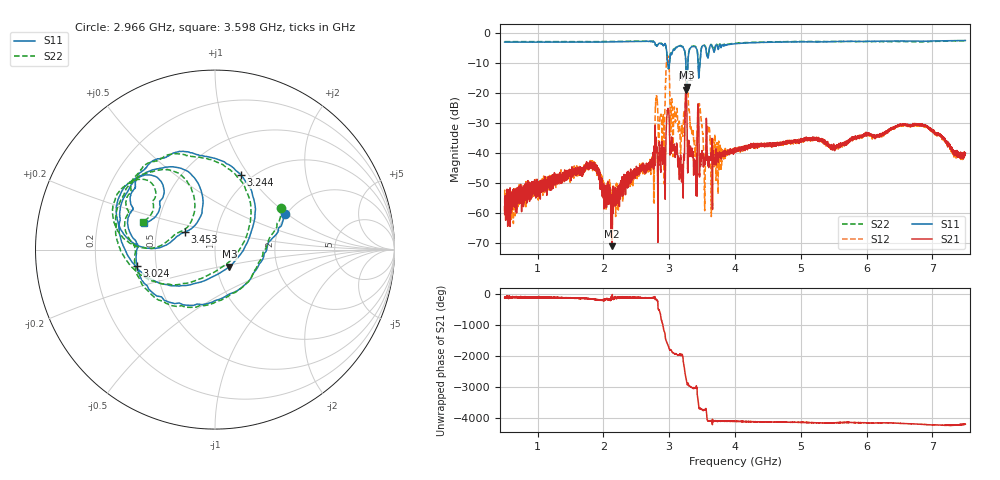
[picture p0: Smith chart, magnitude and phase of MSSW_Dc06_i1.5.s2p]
!Keysight Technologies,M9374A,MY55442783,A.12.55.05
!Date: Thursday, May 20, 2021 12:57:34
!Correction: S11(Full 2 Port(1,2))
!S21(Full 2 Port(1,2))
!S12(Full 2 Port(1,2))
!S22(Full 2 Port(1,2))
!S2P File: Measurements: S11, S21, S12, S22:
# Hz S  RI  R 50
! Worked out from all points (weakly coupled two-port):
!   7001 points, 500 MHz to 7.5 GHz, reference 50 ohm
!   highest |S21| = -18.93 dB at 3.255 GHz (marker M1); lowest = -70.9 dB at 2.128 GHz (marker M2)
!   lowest |S11| = -18.1 dB at 3.268 GHz (marker M3), VSWR 1.28, Z = 57.6 - j11.1 ohm
!   |S11| at or under -10 dB: 2.976 GHz to 3.005 GHz (29.39 MHz wide, 0.983 % of centre); 3.253 GHz to 3.284 GHz (30.6 MHz wide, 0.936 % of centre); 3.439 GHz to 3.468 GHz (29.08 MHz wide, 0.842 % of centre)
!   |S22| runs from -19.8 to -2.7 dB; largest |S21 - S12| = 0.36
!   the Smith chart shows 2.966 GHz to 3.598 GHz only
!   S11 on the Smith chart (normalised r, x): 2.966 GHz: 1.96, +0.96; 3.024 GHz: 0.39, -0.09; 3.244 GHz: 0.89, +0.92; 3.453 GHz: 0.70, +0.14; 3.598 GHz: 0.42, +0.15
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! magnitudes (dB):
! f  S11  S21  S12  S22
! 500 MHz  -3.2  -58.0  -59.4  -3.0
! 1.667 GHz  -3.2  -46.6  -46.1  -3.0
! 1.869 GHz  -3.2  -43.7  -44.6  -3.0
! 2.128 GHz  -3.1  -70.9  -55.7  -3.0
! 2.745 GHz  -3.1  -43.8  -41.3  -3.1
! 2.834 GHz  -3.9  -43.9  -33.7  -3.8
! 2.907 GHz  -4.2  -41.7  -28.1  -4.2
! 2.966 GHz  -7.2  -27.6  -8.8  -7.2
! 3.024 GHz  -7.0  -40.1  -32.9  -6.8
! 3.182 GHz  -4.5  -45.1  -33.8  -4.4
! 3.244 GHz  -7.1  -23.6  -25.7  -7.1
! 3.255 GHz  -10.9  -18.9  -17.7  -10.8
! 3.268 GHz  -18.1  -25.3  -14.5  -19.8
! 3.378 GHz  -4.6  -43.8  -36.4  -4.4
! 3.453 GHz  -14.2  -34.1  -24.0  -13.3
! 3.534 GHz  -4.3  -42.2  -51.6  -4.1
! 3.598 GHz  -7.5  -44.5  -32.3  -7.3
! 3.655 GHz  -5.0  -40.8  -37.5  -4.6
! 4 GHz  -3.7  -39.5  -39.1  -3.6
! 5.167 GHz  -3.1  -35.5  -35.6  -3.0
! 6.334 GHz  -2.8  -32.5  -32.4  -3.0
! 7.5 GHz  -2.6  -40.0  -40.0  -2.8
